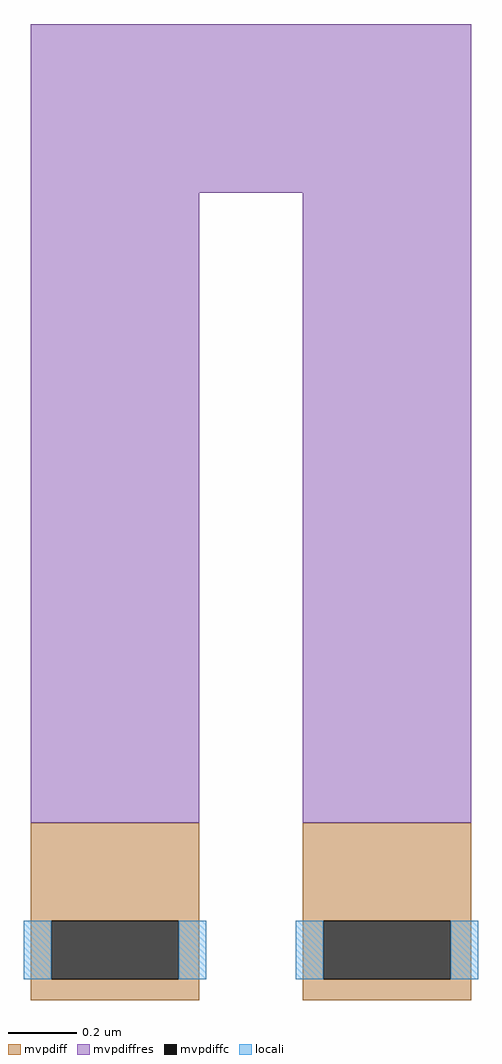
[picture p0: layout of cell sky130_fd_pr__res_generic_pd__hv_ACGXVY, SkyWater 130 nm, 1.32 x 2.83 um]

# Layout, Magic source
magic
tech sky130A
magscale 1 2
<< mvpdiff >>
rect -128 -237 -30 -180
rect -128 -271 -116 -237
rect -42 -271 -30 -237
rect -128 -283 -30 -271
rect 30 -237 128 -180
rect 30 -271 42 -237
rect 116 -271 128 -237
rect 30 -283 128 -271
<< mvpdiffc >>
rect -116 -271 -42 -237
rect 42 -271 116 -237
<< mvpdiffres >>
rect -128 186 128 284
rect -128 -180 -30 186
rect 30 -180 128 186
<< locali >>
rect -132 -271 -116 -237
rect -42 -271 -26 -237
rect 26 -271 42 -237
rect 116 -271 132 -237
<< properties >>
string gencell sky130_fd_pr__res_generic_pd__hv
string library sky130
string parameters w 0.488 l 2.1 m 1 nx 2 wmin 0.42 lmin 2.10 rho 197 val 2.217k dummy 0 dw 0.02 term 0.0 sterm 0.0 caplen 0.60 snake 1 guard 0 glc 1 grc 1 gtc 1 gbc 1 roverlap 0 endcov 100 full_metal 1 vias 1 viagb 0 viagt 0 viagl 0 viagr 0
<< end >>
